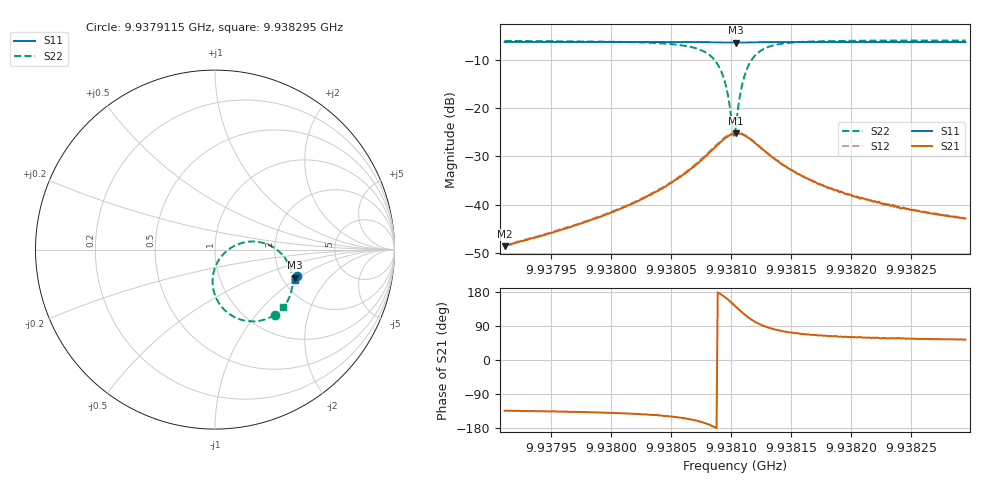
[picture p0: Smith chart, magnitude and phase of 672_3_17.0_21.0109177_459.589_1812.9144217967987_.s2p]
#  HZ  S  RI  R  50.00
! Rohde & Schwarz Vector Network Analyzer
! Rohde-Schwarz,ZNB20-2Port,1311601062101988,3.16
! Created: UTC 3/20/2024, 11:22:13 PM
! freq[Hz]  re:S11  im:S11  re:S21  im:S21  re:S12  im:S12  re:S22  im:S22
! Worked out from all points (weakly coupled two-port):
!   401 points, 9.9379115 GHz to 9.938295 GHz, reference 50 ohm
!   highest |S21| = -25.22 dB at 9.9381042 GHz (marker M1); lowest = -48.5 dB at 9.9379115 GHz (marker M2)
!   lowest |S11| = -6.5 dB at 9.9381042 GHz (marker M3), VSWR 2.80, Z = 117 - j47.6 ohm
!   |S11| at or under -10 dB: nowhere
!   |S22| runs from -25.7 to -6.1 dB; largest |S21 - S12| = 0.0025
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9.93791146e9  0.4577 -0.1483  -0.00259 -0.0027  -0.00267 -0.00271  0.3324 -0.363
9.9379757e9  0.4555 -0.1527  -0.00475 -0.00438  -0.0049 -0.00437  0.3096 -0.3761
9.938015e9  0.4544 -0.1557  -0.00777 -0.00619  -0.00798 -0.00617  0.2808 -0.3882
9.93803993e9  0.4533 -0.1574  -0.0118 -0.0078  -0.0121 -0.00795  0.2449 -0.3973
9.93806965e9  0.451 -0.1599  -0.0235 -0.00897  -0.0245 -0.00889  0.146 -0.3909
9.93808499e9  0.4489 -0.1603  -0.0374 -0.0031  -0.0387 -0.00258  0.0404 -0.323
9.93808978e9  0.4479 -0.1602  -0.0427 0.00263  -0.0439 0.00365  0.00578 -0.2684
9.93809362e9  0.4472 -0.1596  -0.0462 0.00927  -0.0472 0.0111  -0.0117 -0.2069
9.9380965e9  0.4469 -0.1591  -0.0476 0.0158  -0.0487 0.0177  -0.0119 -0.1519
9.93810129e9  0.4467 -0.158  -0.0459 0.0282  -0.046 0.0305  0.0232 -0.0545
9.93810225e9  0.4468 -0.1578  -0.0448 0.0304  -0.0448 0.0329  0.0364 -0.0366
9.93810321e9  0.4469 -0.1575  -0.0435 0.0328  -0.0433 0.0353  0.0512 -0.0205
9.93810417e9  0.4469 -0.1572  -0.0421 0.0352  -0.0415 0.0374  0.0677 -0.00523
9.938108e9  0.4475 -0.1565  -0.0337 0.0421  -0.0328 0.0441  0.1442 0.0356
9.93811088e9  0.4483 -0.1563  -0.0269 0.0447  -0.0254 0.0465  0.2054 0.0454
9.93811471e9  0.4493 -0.1561  -0.0177 0.0454  -0.0164 0.0468  0.2775 0.0346
9.93812046e9  0.4503 -0.1567  -0.00712 0.0422  -0.00592 0.0429  0.3543 -0.0082
9.9381358e9  0.4517 -0.1588  0.0045 0.0297  0.0055 0.0298  0.4265 -0.1274
9.93816744e9  0.4515 -0.1624  0.00718 0.0163  0.00745 0.0163  0.4236 -0.2387
9.93819524e9  0.4507 -0.1646  0.00615 0.0113  0.00665 0.0114  0.4093 -0.2763
9.93823168e9  0.4497 -0.1675  0.00541 0.00842  0.00554 0.00833  0.3952 -0.3009
9.93829495e9  0.4478 -0.1716  0.00424 0.00583  0.00439 0.00582  0.3796 -0.322
